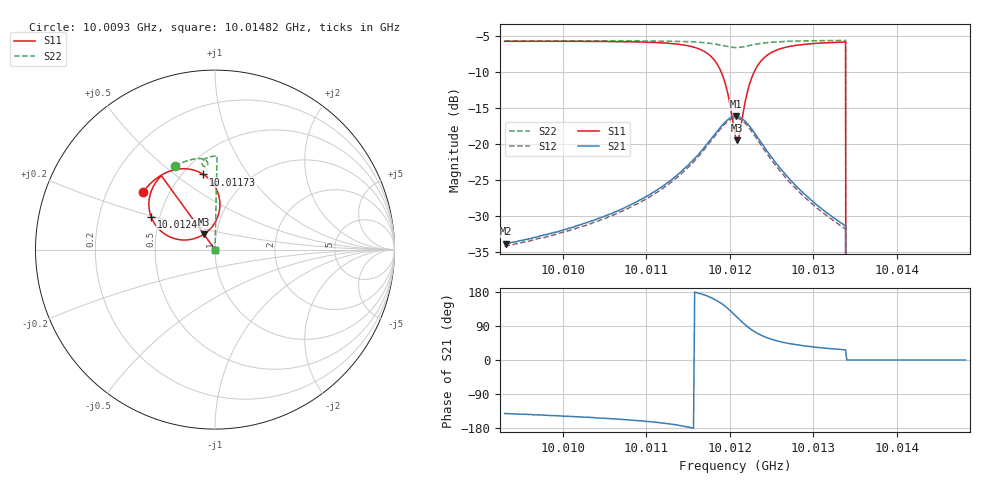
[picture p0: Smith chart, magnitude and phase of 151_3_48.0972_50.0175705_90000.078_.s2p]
#  HZ  S  RI  R  50.00
! Rohde & Schwarz Vector Network Analyzer
! Rohde-Schwarz,ZNB20-2Port,1311601062101988,3.16
! Created: UTC 12/23/2023, 3:49:46 AM
! freq[Hz]  re:S11  im:S11  re:S21  im:S21  re:S12  im:S12  re:S22  im:S22
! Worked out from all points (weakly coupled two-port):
!   401 points, 10.0093 GHz to 10.01482 GHz, reference 50 ohm
!   highest |S21| = -16.16 dB at 10.01208 GHz (marker M1); lowest = -33.8 dB at 10.00931 GHz (marker M2)
!   lowest |S11| = -19.5 dB at 10.01209 GHz (marker M3), VSWR 1.24, Z = 43.7 + j7.68 ohm
!   |S11| at or under -10 dB: 10.0119 GHz to 10.01229 GHz (397.4 kHz wide, 0.00397 % of centre); 10.01339 GHz to end of sweep
!   |S22| runs from - to -5.7 dB; largest |S21 - S12| = 0.0078
!   S11 on the Smith chart (normalised r, x): 10.0093 GHz: 0.36, +0.31; 10.01173 GHz: 0.63, +0.64; 10.01242 GHz: 0.45, +0.20; 10.01482 GHz: 1.00, +0.00
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1.0009301e10  -0.4004 0.3228  -0.0158 -0.0128  -0.0147 -0.0129  -0.2231 0.467
1.0009314e10  -0.3998 0.3235  -0.0159 -0.0126  -0.0147 -0.0129  -0.2223 0.4674
1.0010226e10  -0.3458 0.3807  -0.0242 -0.0137  -0.0226 -0.0143  -0.1664 0.4912
1.0011151e10  -0.2462 0.4392  -0.0473 -0.0125  -0.045 -0.0144  -0.1024 0.5067
1.0011483e10  -0.1689 0.4506  -0.0695 -0.00492  -0.0667 -0.00842  -0.0749 0.5067
1.0011731e10  -0.0652 0.419  -0.0985 0.0193  -0.0962 0.0137  -0.0516 0.4984
1.0011842e10  -0.00702 0.3626  -0.1113 0.0473  -0.1106 0.0399  -0.0429 0.4885
1.0011925e10  0.0242 0.2857  -0.1134 0.0785  -0.1136 0.0716  -0.0404 0.4779
1.001198e10  0.0245 0.2178  -0.1051 0.1038  -0.1071 0.0966  -0.0424 0.4706
1.0012063e10  -0.0286 0.1133  -0.0734 0.1371  -0.0766 0.1307  -0.0519 0.4628
1.0012077e10  -0.0434 0.0995  -0.0663 0.1407  -0.0698 0.1345  -0.0541 0.4627
1.001209e10  -0.0603 0.0869  -0.0588 0.1435  -0.0627 0.1375  -0.056 0.4625
1.0012118e10  -0.0966 0.0676  -0.0437 0.147  -0.0475 0.1412  -0.0603 0.4633
1.0012201e10  -0.2082 0.0571  0.000336 0.1406  -0.00427 0.1355  -0.0695 0.4711
1.0012256e10  -0.2684 0.0795  0.021 0.1268  0.0156 0.1226  -0.0717 0.4789
1.0012422e10  -0.3562 0.1835  0.0458 0.0818  0.0407 0.0798  -0.0645 0.498
1.001267e10  -0.3644 0.2933  0.0431 0.0433  0.0392 0.0432  -0.0438 0.5119
1.0012988e10  -0.3365 0.3643  0.033 0.0229  0.0305 0.0233  -0.018 0.5189
1.0013361e10  -0.3017 0.4093  0.0247 0.0126  0.0228 0.0134  0.00961 0.5214
1.001343e10  0 0  0 0  0 0  0 0
1.0013913e10  0 0  0 0  0 0  0 0
1.0014825e10  0 0  0 0  0 0  0 0
